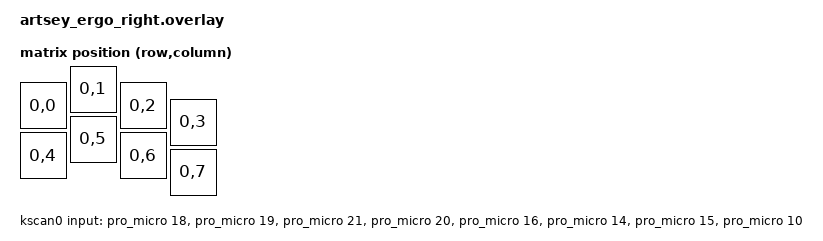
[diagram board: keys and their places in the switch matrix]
#include "artsey_ergo.dtsi"

&kscan0 {
	input-gpios =
		<&pro_micro 18 (GPIO_ACTIVE_LOW | GPIO_PULL_UP)>,
		<&pro_micro 19 (GPIO_ACTIVE_LOW | GPIO_PULL_UP)>,
		<&pro_micro 21 (GPIO_ACTIVE_LOW | GPIO_PULL_UP)>,
		<&pro_micro 20 (GPIO_ACTIVE_LOW | GPIO_PULL_UP)>,

		<&pro_micro 16 (GPIO_ACTIVE_LOW | GPIO_PULL_UP)>,
		<&pro_micro 14 (GPIO_ACTIVE_LOW | GPIO_PULL_UP)>,
		<&pro_micro 15 (GPIO_ACTIVE_LOW | GPIO_PULL_UP)>,
		<&pro_micro 10 (GPIO_ACTIVE_LOW | GPIO_PULL_UP)>;
};

&default_layout {
	keys = //					  w	  h		  x	  y		rot		rx	ry
		<&key_physical_attrs	100	100		  0  33		  0		 0	 0>,
		<&key_physical_attrs	100	100		100   0		  0		 0	 0>,
		<&key_physical_attrs	100	100		200  33		  0		 0	 0>,
		<&key_physical_attrs	100	100		300  66		  0		 0	 0>,
		<&key_physical_attrs	100	100		  0 133		  0		 0	 0>,
		<&key_physical_attrs	100	100		100 100		  0		 0	 0>,
		<&key_physical_attrs	100	100		200 133		  0		 0	 0>,
		<&key_physical_attrs	100	100		300 166		  0		 0	 0>;
};

&default_transform {
	map = <
		RC(0,0) RC(0,1) RC(0,2) RC(0,3)
		RC(0,4) RC(0,5) RC(0,6) RC(0,7)
	>;
};

&default_position_map {
	layout1: layout1 {
		physical-layout = <&default_layout>;
		positions =
			<0 1 2 3>,
			<4 5 6 7>;
	};
};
